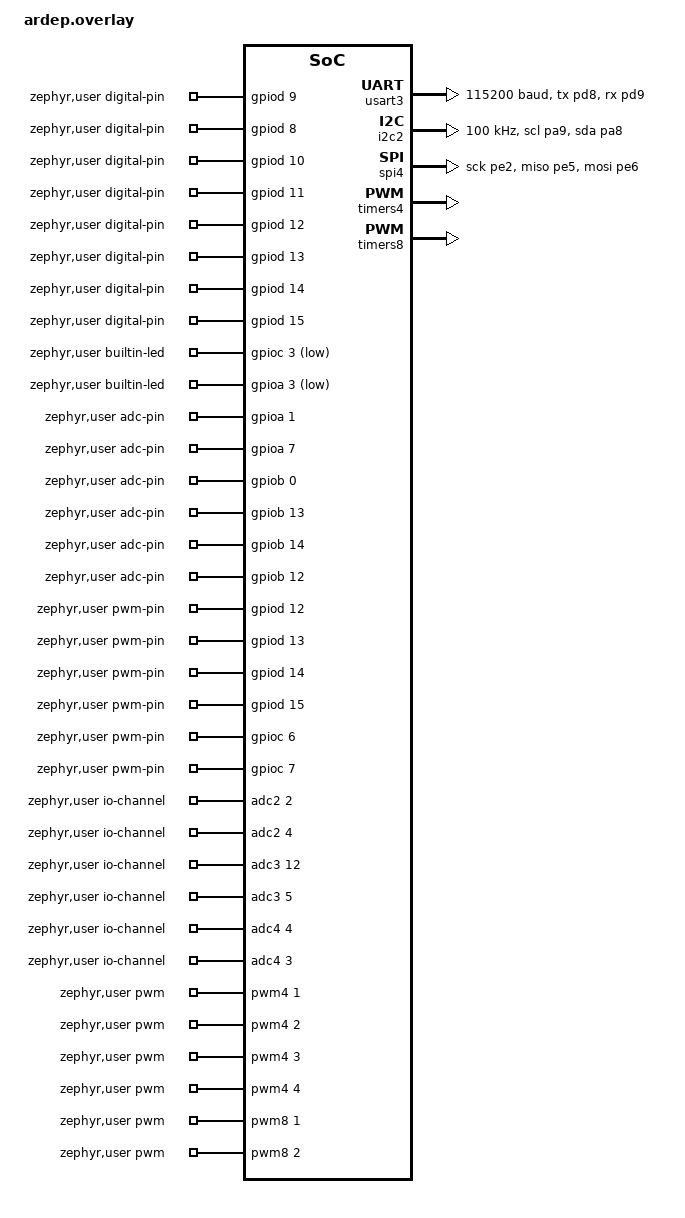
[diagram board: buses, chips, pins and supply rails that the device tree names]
/*
 * Arduino Core for Zephyr - board variant overlay for the ARDEP board.
 *
 * SPDX-License-Identifier: Apache-2.0
 *
 * Physical Arduino-R3-header pin mapping for the Mercedes-Benz ARDEP
 * (STM32G474VE). The pin assignments mirror the board's own
 * boards/mercedes/ardep/arduino_r3_connector.dtsi so that Arduino digital/
 * analog pin numbers line up with the silkscreen.
 *
 * Flash layout: the Arduino loader owns the whole 512K flash as a standalone
 * firmware, decoupled from ARDEP's automotive MCUboot+UDS/DFU scheme (which
 * reserves mcuboot/slot0/slot1 for OTA swap and would force slot1 to exist for
 * image signing). For the Arduino flow we don't need OTA, so we replace the
 * stock partition map with: code (loader) / user_sketch / storage, and disable
 * CONFIG_BOOTLOADER_MCUBOOT in ardep.conf so the loader links at flash base.
 */

#include <zephyr/dt-bindings/pwm/pwm.h>

/delete-node/ &boot_partition;
/delete-node/ &slot0_partition;
/delete-node/ &slot1_partition;
/delete-node/ &storage_partition;

&flash0 {
	partitions {
		code_partition: partition@0 {
			label = "code";
			reg = <0x00000000 DT_SIZE_K(320)>;
		};
		user_sketch: partition@50000 {
			label = "user_sketch";
			reg = <0x00050000 DT_SIZE_K(160)>;
		};
		storage_partition: partition@78000 {
			label = "storage";
			reg = <0x00078000 DT_SIZE_K(32)>;
		};
	};
};

/ {
	chosen {
		zephyr,code-partition = &code_partition;
	};
};

/* Header UART (arduino_serial) -> Arduino Serial1 on D0/D1 (PD9 RX / PD8 TX) */
&usart3 {
	status = "okay";
	pinctrl-0 = <&usart3_tx_pd8 &usart3_rx_pd9>;
	pinctrl-names = "default";
	current-speed = <115200>;
};

/* Wire -> i2c2 on header D18/D19 (PA8 SDA / PA9 SCL) */
&i2c2 {
	status = "okay";
	pinctrl-0 = <&i2c2_scl_pa9 &i2c2_sda_pa8>;
	pinctrl-names = "default";
	clock-frequency = <100000>;
};

/* SPI -> spi4 on header D11/D12/D13 (PE6 MOSI / PE5 MISO / PE2 SCK) */
&spi4 {
	status = "okay";
	pinctrl-0 = <&spi4_sck_pe2 &spi4_miso_pe5 &spi4_mosi_pe6>;
	pinctrl-names = "default";
};

/*
 * PWM for analogWrite(). Deferred-init + a dedicated "arduino" pinctrl state
 * so the timers don't claim the pins at boot (they stay usable as digital
 * pins until analogWrite() applies the "arduino" state) — same pattern as the
 * upstream uno_q variant.
 */
&timers4 {
	status = "okay";
	st,prescaler = <4>;
	pwm4: pwm {
		status = "okay";
		zephyr,deferred-init;
		pinctrl-0 = <>;
		pinctrl-1 = <>;
		pinctrl-2 = <&tim4_ch1_pd12 &tim4_ch2_pd13 &tim4_ch3_pd14 &tim4_ch4_pd15>;
		pinctrl-names = "default", "sleep", "arduino";
	};
};

&timers8 {
	status = "okay";
	st,prescaler = <63>;
	pwm8: pwm {
		status = "okay";
		zephyr,deferred-init;
		pinctrl-0 = <>;
		pinctrl-1 = <>;
		pinctrl-2 = <&tim8_ch1_pc6 &tim8_ch2_pc7>;
		pinctrl-names = "default", "sleep", "arduino";
	};
};

/ {
	zephyr,user {
		/*
		 * digital-pin-gpios is indexed by Arduino digital pin number.
		 * D0..D13 are the header digital pins; A0..A5 are appended as
		 * D14..D19 (Arduino convention). D18/D19 (PA8/PA9) follow.
		 */
		digital-pin-gpios =
			<&gpiod 9  GPIO_ACTIVE_HIGH>,  /* D0  - PD9  */
			<&gpiod 8  GPIO_ACTIVE_HIGH>,  /* D1  - PD8  */
			<&gpiod 10 GPIO_ACTIVE_HIGH>,  /* D2  - PD10 */
			<&gpiod 11 GPIO_ACTIVE_HIGH>,  /* D3  - PD11 */
			<&gpiod 12 GPIO_ACTIVE_HIGH>,  /* D4  - PD12 */
			<&gpiod 13 GPIO_ACTIVE_HIGH>,  /* D5  - PD13 */
			<&gpiod 14 GPIO_ACTIVE_HIGH>,  /* D6  - PD14 */
			<&gpiod 15 GPIO_ACTIVE_HIGH>,  /* D7  - PD15 */
			<&gpioc 6  GPIO_ACTIVE_HIGH>,  /* D8  - PC6  */
			<&gpioc 7  GPIO_ACTIVE_HIGH>,  /* D9  - PC7  */
			<&gpioe 3  GPIO_ACTIVE_HIGH>,  /* D10 - PE3  */
			<&gpioe 6  GPIO_ACTIVE_HIGH>,  /* D11 - PE6  */
			<&gpioe 5  GPIO_ACTIVE_HIGH>,  /* D12 - PE5  */
			<&gpioe 2  GPIO_ACTIVE_HIGH>,  /* D13 - PE2  */

			/* Analog pins, exposed as digital D14..D19 */
			<&gpioa 1  GPIO_ACTIVE_HIGH>,  /* A0/D14 - PA1  */
			<&gpioa 7  GPIO_ACTIVE_HIGH>,  /* A1/D15 - PA7  */
			<&gpiob 0  GPIO_ACTIVE_HIGH>,  /* A2/D16 - PB0  */
			<&gpiob 13 GPIO_ACTIVE_HIGH>,  /* A3/D17 - PB13 */
			<&gpiob 14 GPIO_ACTIVE_HIGH>,  /* A4/D18 - PB14 */
			<&gpiob 12 GPIO_ACTIVE_HIGH>,  /* A5/D19 - PB12 */

			<&gpioa 8  GPIO_ACTIVE_HIGH>,  /* D20 - PA8 (header D18) */
			<&gpioa 9  GPIO_ACTIVE_HIGH>,  /* D21 - PA9 (header D19) */

			/*
			 * Onboard LEDs as digital pins. The core derives
			 * LED_BUILTIN by matching builtin-led-gpios[0] against this
			 * list, so the LED pins must appear here. Active-low so
			 * digitalWrite(LED_BUILTIN, HIGH) lights the LED.
			 */
			<&gpioc 3  GPIO_ACTIVE_LOW>,   /* D22 - PC3 red (LED_BUILTIN) */
			<&gpioa 3  GPIO_ACTIVE_LOW>;   /* D23 - PA3 green */

		/*
		 * Onboard LEDs (active-low on ARDEP). LED_BUILTIN -> index 0
		 * (red). Matches boards/mercedes/ardep led0 = &red_led.
		 */
		builtin-led-gpios =
			<&gpioc 3 GPIO_ACTIVE_LOW>,    /* red   - PC3 */
			<&gpioa 3 GPIO_ACTIVE_LOW>;    /* green - PA3 */

		/*
		 * Serial1 on the header UART (usart3 = arduino_serial), routed to
		 * D0/D1 (PD9 RX / PD8 TX) — the classic Arduino UART pins.
		 * Wire  -> i2c2 on D18/D19 (PA8 SDA / PA9 SCL).
		 * SPI   -> spi4 on D11/D12/D13 (PE6 MOSI / PE5 MISO / PE2 SCK).
		 */
		serials = <&usart3>;
		i2cs = <&i2c2>;
		spis = <&spi4>;

		/*
		 * analogRead(A0..A5). The board's adc.dtsi already enables adc2/3/4
		 * with these channels configured (gain/ref/acq/12-bit); we just wire
		 * the consumer side. Order is A0..A5.
		 */
		io-channels = <&adc2 2>,   /* A0 PA1  - adc2_in2  */
			      <&adc2 4>,   /* A1 PA7  - adc2_in4  */
			      <&adc3 12>,  /* A2 PB0  - adc3_in12 */
			      <&adc3 5>,   /* A3 PB13 - adc3_in5  */
			      <&adc4 4>,   /* A4 PB14 - adc4_in4  */
			      <&adc4 3>;   /* A5 PB12 - adc4_in3  */

		adc-pin-gpios = <&gpioa 1  0>,  /* A0 PA1  */
				<&gpioa 7  0>,  /* A1 PA7  */
				<&gpiob 0  0>,  /* A2 PB0  */
				<&gpiob 13 0>,  /* A3 PB13 */
				<&gpiob 14 0>,  /* A4 PB14 */
				<&gpiob 12 0>;  /* A5 PB12 */

		/*
		 * analogWrite(): PWM on D4-D7 (TIM4_CH1-4, PD12-15) and D8/D9
		 * (TIM8_CH1/2, PC6/PC7). TIM3 is used by the board, so it's avoided.
		 * pwm-pin-gpios and pwms are parallel lists indexed together.
		 */
		pwm-pin-gpios = <&gpiod 12 0>,  /* D4 PD12 */
				<&gpiod 13 0>,  /* D5 PD13 */
				<&gpiod 14 0>,  /* D6 PD14 */
				<&gpiod 15 0>,  /* D7 PD15 */
				<&gpioc 6  0>,  /* D8 PC6  */
				<&gpioc 7  0>;  /* D9 PC7  */

		pwms = <&pwm4 1 PWM_HZ(500) PWM_POLARITY_NORMAL>,  /* D4 TIM4_CH1 */
		       <&pwm4 2 PWM_HZ(500) PWM_POLARITY_NORMAL>,  /* D5 TIM4_CH2 */
		       <&pwm4 3 PWM_HZ(500) PWM_POLARITY_NORMAL>,  /* D6 TIM4_CH3 */
		       <&pwm4 4 PWM_HZ(500) PWM_POLARITY_NORMAL>,  /* D7 TIM4_CH4 */
		       <&pwm8 1 PWM_HZ(500) PWM_POLARITY_NORMAL>,  /* D8 TIM8_CH1 */
		       <&pwm8 2 PWM_HZ(500) PWM_POLARITY_NORMAL>;  /* D9 TIM8_CH2 */
	};
};
